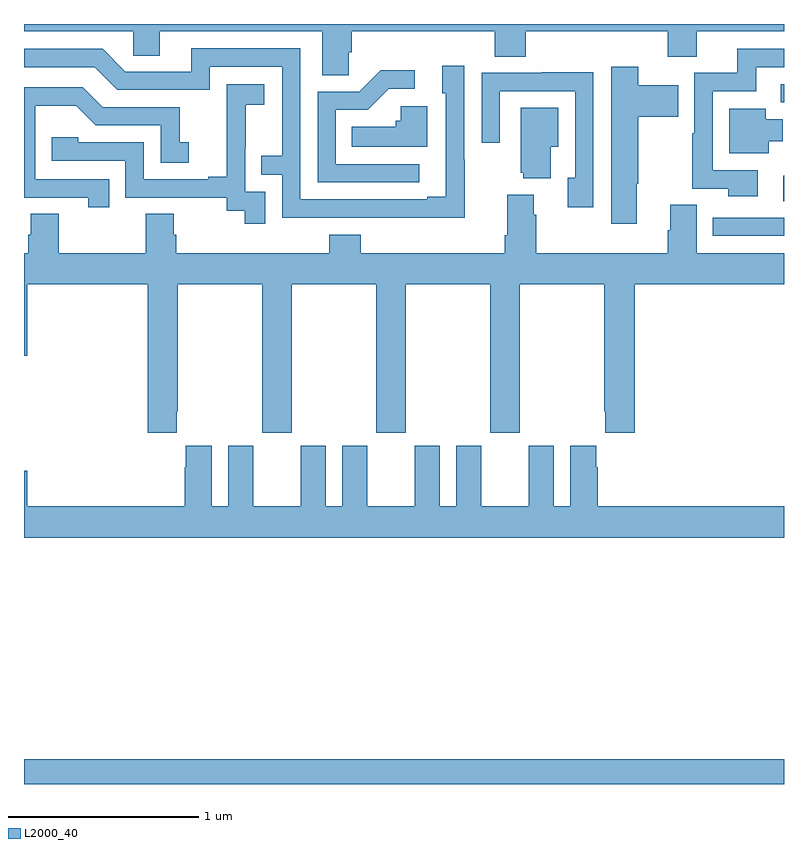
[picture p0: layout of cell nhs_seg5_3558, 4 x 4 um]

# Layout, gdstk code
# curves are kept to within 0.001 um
import gdstk
lib = gdstk.Library(unit=1e-6, precision=1e-09)
def R(c, l, rs):  # rectangles x0, y0, x1, y1
    for r in rs: c.add(gdstk.rectangle(r[:2], r[2:], *l))
def P(c, l, *ps):  # polygons
    for p in ps: c.add(gdstk.Polygon(p, *l))
L2000_40 = (2000, 40)

nhs_seg5_3558 = lib.new_cell('nhs_seg5_3558')
R(nhs_seg5_3558, L2000_40, [(321,852.799,325,852.928), (324.626,855.684,325,855.78), (324.984,856.386,325,856.482)])
P(nhs_seg5_3558, L2000_40, [(322.71,856.651),(322.724,856.651),(322.724,856.76),(323.477,856.76),(323.477,856.627),(323.642,856.627),(323.642,856.76),(324.389,856.76),(324.389,856.627),(324.541,856.627),(324.541,856.76),(325,856.76),(325,856.799),(321,856.799),(321,856.76),(321.576,856.76),(321.576,856.633),(321.715,856.633),(321.715,856.76),(322.571,856.76),(322.571,856.528),(322.71,856.528)],
  [(323.319,856.085),(323.316,856.085),(323.316,856.579),(323.201,856.579),(323.201,856.434),(323.22,856.434),(323.22,855.889),(323.123,855.889),(323.123,855.876),(322.455,855.876),(322.455,856.671),(321.881,856.671),(321.881,856.548),(321.534,856.548),(321.414,856.668),(321,856.668),(321,856.572),(321.372,856.572),(321.492,856.452),(321.978,856.452),(321.978,856.575),(322.359,856.575),(322.359,856.106),(322.249,856.106),(322.249,856.005),(322.359,856.005),(322.359,855.78),(323.319,855.779)],
  [(324.862,856.029),(324.624,856.029),(324.624,856.446),(324.853,856.446),(324.853,856.572),(325,856.572),(325,856.668),(324.755,856.668),(324.755,856.542),(324.528,856.542),(324.528,856.223),(324.516,856.223),(324.516,855.933),(324.706,855.933),(324.706,855.893),(324.862,855.893)],
  [(324.226,855.959),(324.234,855.959),(324.234,856.312),(324.443,856.312),(324.443,856.477),(324.234,856.477),(324.234,856.573),(324.092,856.573),(324.092,855.747),(324.226,855.747)],
  [(323.08,856.062),(322.641,856.062),(322.641,856.347),(322.81,856.347),(322.921,856.458),(323.056,856.458),(323.056,856.556),(322.877,856.556),(322.764,856.443),(322.545,856.443),(322.545,855.966),(323.08,855.966)],
  [(323.997,856.544),(323.725,856.544),(323.725,856.542),(323.409,856.542),(323.409,856.173),(323.505,856.173),(323.505,856.446),(323.901,856.446),(323.901,855.99),(323.861,855.99),(323.861,855.834),(323.997,855.834)],
  [(322.269,855.915),(322.164,855.915),(322.164,856.145),(322.166,856.145),(322.166,856.373),(322.264,856.373),(322.264,856.483),(322.066,856.483),(322.066,856.277),(322.067,856.277),(322.067,855.994),(321.971,855.994),(321.971,855.981),(321.63,855.981),(321.63,856.176),(321.285,856.176),(321.285,856.203),(321.145,856.203),(321.145,856.08),(321.534,856.08),(321.534,855.885),(322.068,855.885),(322.068,855.817),(322.161,855.817),(322.161,855.747),(322.269,855.747)],
  [(321.449,855.981),(321.06,855.981),(321.06,856.37),(321.274,856.37),(321.378,856.266),(321.72,856.266),(321.72,856.068),(321.868,856.068),(321.868,856.177),(321.819,856.177),(321.819,856.362),(321.415,856.362),(321.31,856.467),(321,856.467),(321,855.885),(321.338,855.885),(321.338,855.834),(321.449,855.834)],
  [(323.122,856.366),(322.983,856.366),(322.983,856.29),(322.957,856.29),(322.957,856.258),(322.726,856.258),(322.726,856.154),(323.122,856.154)],
  [(323.773,856.154),(323.812,856.154),(323.812,856.357),(323.615,856.357),(323.615,856.017),(323.627,856.017),(323.627,855.986),(323.773,855.986)],
  [(324.919,856.181),(324.994,856.181),(324.994,856.297),(324.904,856.297),(324.904,856.354),(324.713,856.354),(324.713,856.118),(324.919,856.118)],
  [(325,856.004),(324.997,856.001),(324.997,855.865),(325,855.865)],
  [(321.805,854.761),(321.81,854.761),(321.81,855.428),(322.255,855.428),(322.255,854.649),(322.41,854.649),(322.41,855.428),(322.855,855.428),(322.855,854.649),(323.01,854.649),(323.01,855.428),(323.455,855.428),(323.455,854.649),(323.61,854.649),(323.61,855.428),(324.055,855.428),(324.055,854.761),(324.059,854.761),(324.059,854.649),(324.215,854.649),(324.215,855.428),(325,855.428),(325,855.592),(324.541,855.592),(324.541,855.848),(324.401,855.848),(324.401,855.714),(324.389,855.714),(324.389,855.592),(323.696,855.592),(323.696,855.794),(323.683,855.794),(323.683,855.901),(323.543,855.901),(323.543,855.688),(323.531,855.688),(323.531,855.592),(322.772,855.592),(322.772,855.691),(322.607,855.691),(322.607,855.592),(321.8,855.592),(321.8,855.69),(321.787,855.69),(321.787,855.8),(321.64,855.8),(321.64,855.592),(321.183,855.592),(321.183,855.8),(321.035,855.8),(321.035,855.69),(321.023,855.69),(321.023,855.592),(321,855.592),(321,855.054),(321.016,855.054),(321.016,855.428),(321.65,855.428),(321.65,854.649),(321.805,854.649)],
  [(325,854.26),(324.02,854.26),(324.02,854.465),(324.013,854.465),(324.013,854.578),(323.876,854.578),(323.876,854.26),(323.788,854.26),(323.788,854.578),(323.657,854.578),(323.657,854.26),(323.407,854.26),(323.407,854.578),(323.276,854.578),(323.276,854.26),(323.188,854.26),(323.188,854.578),(323.057,854.578),(323.057,854.26),(322.807,854.26),(322.807,854.578),(322.676,854.578),(322.676,854.26),(322.588,854.26),(322.588,854.578),(322.457,854.578),(322.457,854.26),(322.207,854.26),(322.207,854.578),(322.076,854.578),(322.076,854.26),(321.988,854.26),(321.988,854.578),(321.851,854.578),(321.851,854.465),(321.845,854.465),(321.845,854.26),(321.016,854.26),(321.016,854.449),(321,854.449),(321,854.096),(325,854.096)])

lib.write_gds('nhs_seg5_3558.gds')
